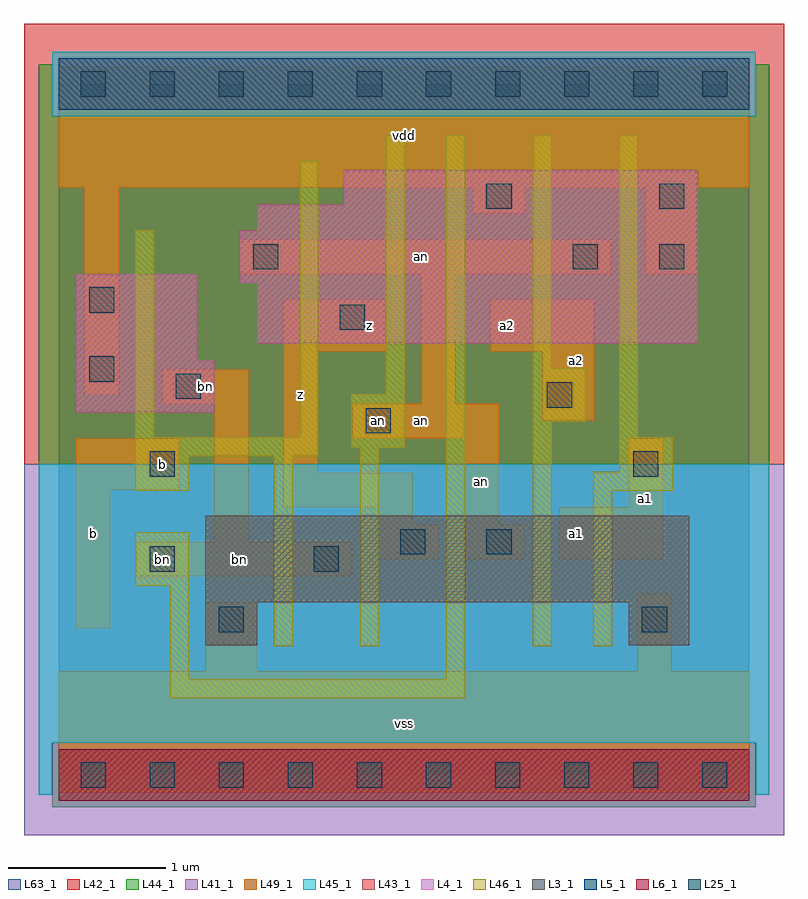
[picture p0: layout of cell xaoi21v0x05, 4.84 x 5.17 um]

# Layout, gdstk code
import gdstk
lib = gdstk.Library(unit=1e-6, precision=1e-09)
def R(c, l, rs):  # rectangles x0, y0, x1, y1
    for r in rs: c.add(gdstk.rectangle(r[:2], r[2:], *l))
def A(c, l, x, y, w, h, nx, ny, dx, dy):  # array of equal rectangles
    R(c, l, [(x+i*dx, y+j*dy, x+i*dx+w, y+j*dy+h) for i in range(nx) for j in range(ny)])
L3_1 = (3, 1)
L4_1 = (4, 1)
L5_1 = (5, 1)
L6_1 = (6, 1)
L25_1 = (25, 1)
L41_1 = (41, 1)
L42_1 = (42, 1)
L43_1 = (43, 1)
L44_1 = (44, 1)
L45_1 = (45, 1)
L46_1 = (46, 1)
L49_1 = (49, 1)
L63_1 = (63, 1)

xaoi21v0x05 = lib.new_cell('xaoi21v0x05')
R(xaoi21v0x05, L3_1, [(0.935,0.825,1.265,1.1), (3.63,0.825,4.015,1.1), (0.935,1.1,4.015,1.65)])
R(xaoi21v0x05, L4_1, [(0.11,2.31,0.99,2.64), (0.11,2.64,0.88,3.19), (1.265,2.75,4.07,3.135), (1.155,3.135,4.07,3.465), (1.265,3.465,4.07,3.63), (1.815,3.63,4.07,3.85)])
R(xaoi21v0x05, L5_1, [(0,4.235,4.4,4.565)])
R(xaoi21v0x05, L6_1, [(0,-0.165,4.4,0.165)])
A(xaoi21v0x05, L25_1, 0.14, -0.08, 0.16, 0.16, 10, 2, 0.44, 4.4)
R(xaoi21v0x05, L25_1, [(1.02,0.91,1.18,1.07), (3.715,0.91,3.875,1.07), (0.58,1.295,0.74,1.455), (1.625,1.295,1.785,1.455), (2.175,1.405,2.335,1.565), (2.725,1.405,2.885,1.565), (0.58,1.9,0.74,2.06), (3.66,1.9,3.82,2.06), (1.955,2.175,2.115,2.335), (3.11,2.34,3.27,2.5), (0.745,2.395,0.905,2.555), (0.195,2.505,0.355,2.665), (1.79,2.835,1.95,2.995), (0.195,2.945,0.355,3.105), (1.24,3.22,1.4,3.38), (3.275,3.22,3.435,3.38), (3.825,3.22,3.985,3.38), (2.725,3.605,2.885,3.765), (3.825,3.605,3.985,3.765)])
R(xaoi21v0x05, L41_1, [(-0.22,-0.385,4.62,1.98)])
R(xaoi21v0x05, L42_1, [(-0.22,1.98,4.62,4.785)])
R(xaoi21v0x05, L43_1, [(0,-0.165,4.4,0.165), (0.935,0.825,1.265,1.1), (3.63,0.825,4.015,1.1), (0.935,1.1,4.015,1.65), (0.11,2.31,0.99,2.64), (0.11,2.64,0.88,3.19), (1.265,2.75,4.07,3.135), (1.155,3.135,4.07,3.465), (1.265,3.465,4.07,3.63), (1.815,3.63,4.07,3.85), (0,4.235,4.4,4.565)])
R(xaoi21v0x05, L44_1, [(-0.04,-0.205,4.44,0.205), (-0.125,1.98,4.525,4.195), (-0.125,4.195,-0.04,4.525), (4.44,4.195,4.525,4.525)])
R(xaoi21v0x05, L45_1, [(-0.125,-0.125,-0.04,0.205), (4.44,-0.125,4.525,0.205), (-0.125,0.205,4.525,1.98), (-0.04,4.195,4.44,4.605)])
R(xaoi21v0x05, L46_1, [(0.71,0.49,2.59,0.61), (0.71,0.61,0.83,1.205), (2.47,0.61,2.59,4.075), (1.37,0.82,1.49,2.03), (1.92,0.82,2.04,2.085), (3.02,0.82,3.14,2.25), (3.405,0.82,3.525,1.81), (0.49,1.205,0.83,1.545), (0.49,1.81,0.83,2.03), (3.405,1.81,3.91,1.93), (3.57,1.93,3.91,2.15), (0.49,2.03,1.655,2.15), (1.865,2.085,2.205,2.425), (0.49,2.15,0.61,3.47), (1.535,2.15,1.655,3.91), (3.57,2.15,3.69,4.075), (3.02,2.25,3.36,2.59), (2.085,2.425,2.205,4.075), (3.02,2.59,3.14,4.075)])
R(xaoi21v0x05, L49_1, [(0,-0.11,4.4,0.66), (0.935,0.66,1.265,1.1), (3.685,0.66,3.905,1.155), (0.11,0.935,0.33,1.815), (0.495,1.265,1.87,1.485), (2.035,1.375,2.42,1.595), (2.585,1.375,2.97,1.595), (3.19,1.375,3.85,1.705), (0.99,1.485,1.21,2.365), (2.035,1.595,2.255,1.705), (2.585,1.595,2.805,2.145), (1.43,1.705,2.255,1.925), (3.63,1.705,3.85,2.145), (0.11,1.815,0.77,2.145), (1.43,1.925,1.65,2.695), (1.87,2.145,2.805,2.365), (3.08,2.255,3.41,2.695), (0.66,2.365,1.21,2.585), (2.31,2.365,2.53,3.19), (0.165,2.42,0.385,3.74), (1.43,2.695,2.09,3.025), (2.75,2.695,3.41,3.025), (1.155,3.19,3.52,3.41), (3.74,3.19,4.07,3.74), (2.64,3.575,2.97,3.74), (0,3.74,4.4,4.51)])
R(xaoi21v0x05, L63_1, [(0,0,4.4,4.4)])
xaoi21v0x05.add(gdstk.Label('bn', (0.66,1.375), layer=49, texttype=1))
xaoi21v0x05.add(gdstk.Label('an', (2.035,2.255), layer=49, texttype=1))
xaoi21v0x05.add(gdstk.Label('b', (0.22,1.54), layer=49, texttype=1))
xaoi21v0x05.add(gdstk.Label('b', (0.66,1.98), layer=49, texttype=1))
xaoi21v0x05.add(gdstk.Label('bn', (0.935,2.475), layer=49, texttype=1))
xaoi21v0x05.add(gdstk.Label('z', (1.54,2.42), layer=49, texttype=1))
xaoi21v0x05.add(gdstk.Label('vss', (2.2,0.33), layer=49, texttype=1))
xaoi21v0x05.add(gdstk.Label('bn', (1.155,1.375), layer=49, texttype=1))
xaoi21v0x05.add(gdstk.Label('z', (1.98,2.86), layer=49, texttype=1))
xaoi21v0x05.add(gdstk.Label('vdd', (2.2,4.07), layer=49, texttype=1))
xaoi21v0x05.add(gdstk.Label('a1', (3.3,1.54), layer=49, texttype=1))
xaoi21v0x05.add(gdstk.Label('an', (2.695,1.87), layer=49, texttype=1))
xaoi21v0x05.add(gdstk.Label('an', (2.31,2.255), layer=49, texttype=1))
xaoi21v0x05.add(gdstk.Label('a2', (3.3,2.64), layer=49, texttype=1))
xaoi21v0x05.add(gdstk.Label('a2', (2.86,2.86), layer=49, texttype=1))
xaoi21v0x05.add(gdstk.Label('an', (2.31,3.3), layer=49, texttype=1))
xaoi21v0x05.add(gdstk.Label('a1', (3.74,1.76), layer=49, texttype=1))

lib.write_gds('xaoi21v0x05.gds')
